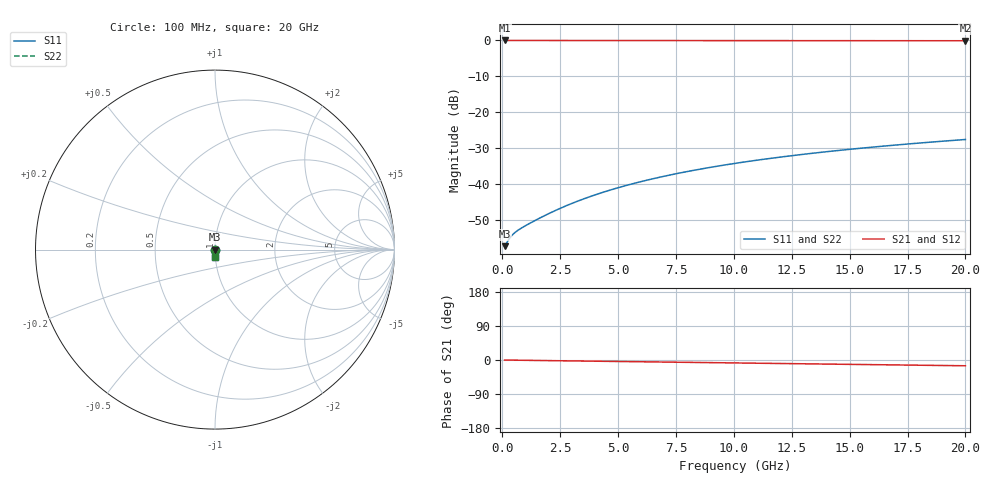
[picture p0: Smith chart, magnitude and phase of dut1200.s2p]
! Touchstone file exported from HFSS 2026.1.0
!  File:  C:/ffzhzh/LocalFiles/Ansys_Project_Files/temp_train_BSMRDL_1200_1783176473_18472.aedt
!  Generated:  10:49:02 PM Jul  4, 2026
!  Design:  BSMRDL
!  Project:  temp_train_BSMRDL_1200_1783176473_18472
! Variables:
!  h_bsmrdl = 3.82um
!  h_ox = 20um
!  h_rdl = 5um
!  h_sub = 80um
!  h_tmrdl = 5um
!  h_tsv = 80um
!  h_via = 3um
!  l_bsmrdl = 262.55um
!  l_sub = 662.55um
!  l_tmrdl = 200um
!  m_sub = 200um
!  pitch = 24.6um
!  r_tsv = 6um
!  s_tmrdl = 10um
!  w_bsmrdl = 21.93um
!  w_sub = 500um
!  w_tmrdl = 12um
!  x_tsv_center1 = 206um
!  x_tsv_center2 = 490.48um
!  x_tsv_center3 = 702.48um
!  x_tsv_center4 = 986.96um
!  x_tsv_center5 = 1198.96um
!  x_tsv_center6 = 1483.44um
# GHz S MA R 50.000000
! Terminal data exported
! Port[1] = BSM_RDL1_1_T1
! Port[2] = BSM_RDL1_1_T2
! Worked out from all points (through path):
!   200 points, 100 MHz to 20 GHz, reference 50 ohm
!   highest |S21| = -0.01 dB at 100 MHz (marker M1); lowest = -0.1 dB at 20 GHz (marker M2)
!   group delay of S21, straight-line fit = 2.11 ps
!   lowest |S11| = -57.3 dB at 100 MHz (marker M3), VSWR 1.00, Z = 50.1 + j0.0142 ohm
!   |S11| at or under -10 dB: start of sweep to end of sweep
!   |S22| runs from -57.3 to -27.6 dB; largest |S21 - S12| = 4.1e-15
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0.1  0.001367 5.9  0.9986 -0.1  0.9986 -0.1  0.001367 5.9
! Gamma 0 0 0 0
! Port Impedance 50 0 50 0
0.3  0.001734 5.5  0.9983 -0.3  0.9983 -0.3  0.001734 5.5
0.4  0.001907 1.6  0.9981 -0.4  0.9981 -0.4  0.001907 1.6
0.5  0.002055 -2.8  0.9979 -0.4  0.9979 -0.4  0.002055 -2.8
0.6  0.002185 -7.2  0.9978 -0.5  0.9978 -0.5  0.002185 -7.2
0.9  0.002526 -19.0  0.9976 -0.7  0.9976 -0.7  0.002526 -19.0
1.5  0.003218 -35.6  0.9973 -1.2  0.9973 -1.2  0.003218 -35.6
2.2  0.004155 -47.3  0.9971 -1.8  0.9971 -1.8  0.004156 -47.2
2.8  0.005057 -53.6  0.9968 -2.2  0.9968 -2.2  0.005057 -53.6
3.5  0.006199 -58.6  0.9965 -2.8  0.9965 -2.8  0.0062 -58.6
4.2  0.007421 -62.3  0.9961 -3.3  0.9961 -3.3  0.007422 -62.3
5  0.0089 -65.4  0.9957 -3.9  0.9957 -3.9  0.008901 -65.4
5.9  0.01065 -68.2  0.9952 -4.6  0.9952 -4.6  0.01065 -68.2
6.8  0.01247 -70.6  0.9947 -5.3  0.9947 -5.3  0.01247 -70.6
7.6  0.01414 -72.5  0.9943 -5.9  0.9943 -5.9  0.01414 -72.4
8.4  0.01584 -74.2  0.9938 -6.5  0.9938 -6.5  0.01584 -74.1
10.1  0.01953 -77.4  0.993 -7.8  0.993 -7.8  0.01954 -77.4
11.7  0.02308 -80.1  0.9922 -9.0  0.9922 -9.0  0.02308 -80.0
13.4  0.02688 -82.7  0.9915 -10.3  0.9915 -10.3  0.02689 -82.6
15  0.03048 -84.9  0.9908 -11.5  0.9908 -11.5  0.03049 -84.9
16.7  0.03432 -87.1  0.9901 -12.8  0.9901 -12.8  0.03433 -87.1
20  0.04177 -91.1  0.9888 -15.2  0.9888 -15.2  0.04178 -91.0
